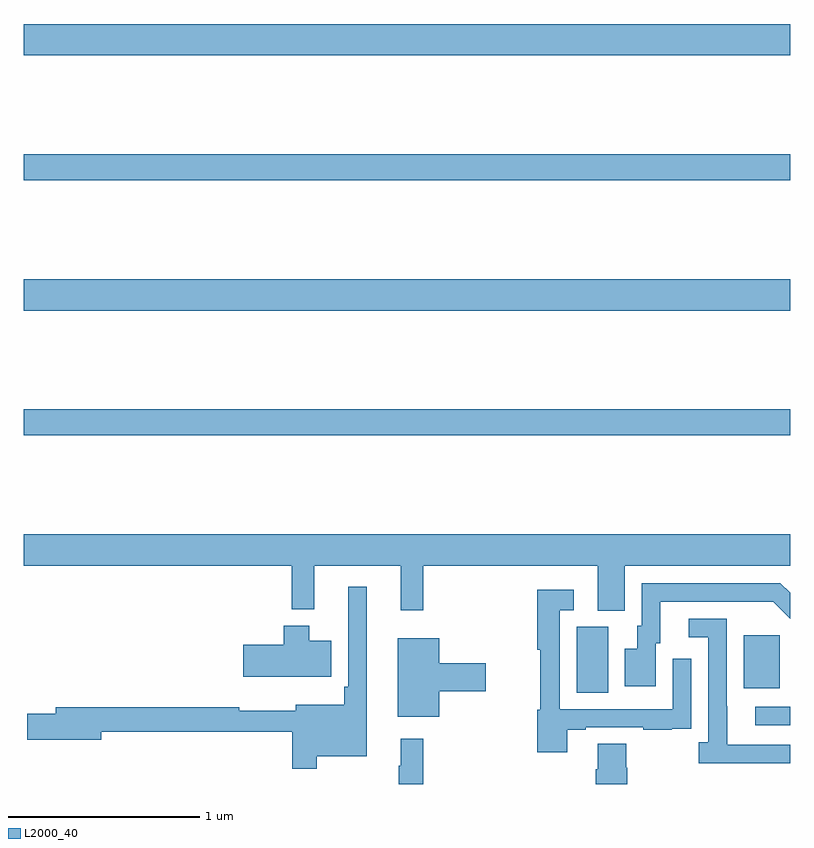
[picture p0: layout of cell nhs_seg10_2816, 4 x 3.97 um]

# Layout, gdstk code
import gdstk
lib = gdstk.Library(unit=1e-6, precision=1e-09)
def R(c, l, rs):  # rectangles x0, y0, x1, y1
    for r in rs: c.add(gdstk.rectangle(r[:2], r[2:], *l))
def P(c, l, *ps):  # polygons
    for p in ps: c.add(gdstk.Polygon(p, *l))
L2000_40 = (2000, 40)

nhs_seg10_2816 = lib.new_cell('nhs_seg10_2816')
R(nhs_seg10_2816, L2000_40, [(266.817,1308.807,267,1308.903), (265.886,1308.976,266.05,1309.32), (266.759,1309.001,266.947,1309.276), (263,1310.32,267,1310.456), (263,1310.972,267,1311.136), (263,1311.652,267,1311.788), (263,1312.304,267,1312.468)])
P(nhs_seg10_2816, L2000_40, [(266.137,1309.64),(267,1309.64),(267,1309.804),(263,1309.804),(263,1309.64),(264.397,1309.64),(264.397,1309.412),(264.515,1309.412),(264.515,1309.64),(264.968,1309.64),(264.968,1309.407),(265.085,1309.407),(265.085,1309.64),(265.997,1309.64),(265.997,1309.405),(266.137,1309.405)],
  [(266.299,1309.236),(266.323,1309.236),(266.323,1309.452),(266.911,1309.452),(267,1309.362),(267,1309.498),(266.95,1309.548),(266.226,1309.548),(266.226,1309.326),(266.201,1309.326),(266.201,1309.207),(266.138,1309.207),(266.138,1309.011),(266.299,1309.011)],
  [(264.529,1308.644),(264.79,1308.644),(264.79,1309.531),(264.693,1309.531),(264.693,1309.009),(264.673,1309.009),(264.673,1308.913),(264.419,1308.913),(264.419,1308.883),(264.123,1308.883),(264.123,1308.902),(263.165,1308.902),(263.165,1308.866),(263.016,1308.866),(263.016,1308.731),(263.404,1308.731),(263.404,1308.774),(264.4,1308.774),(264.4,1308.579),(264.529,1308.579)],
  [(265.837,1308.783),(265.933,1308.783),(265.933,1308.795),(266.233,1308.795),(266.233,1308.783),(266.381,1308.783),(266.381,1308.789),(266.483,1308.789),(266.483,1308.898),(266.484,1308.898),(266.484,1309.153),(266.388,1309.153),(266.388,1308.891),(265.797,1308.891),(265.797,1309.407),(265.87,1309.407),(265.87,1309.513),(265.681,1309.513),(265.681,1309.2),(265.696,1309.2),(265.696,1308.888),(265.681,1308.888),(265.681,1308.666),(265.837,1308.666)],
  [(267,1308.705),(266.671,1308.705),(266.671,1308.905),(266.67,1308.905),(266.67,1309.362),(266.472,1309.362),(266.472,1309.266),(266.574,1309.266),(266.574,1308.718),(266.523,1308.718),(266.523,1308.608),(267,1308.608)],
  [(264.604,1309.249),(264.49,1309.249),(264.49,1309.327),(264.356,1309.327),(264.356,1309.227),(264.144,1309.227),(264.144,1309.061),(264.604,1309.061)],
  [(265.168,1308.983),(265.411,1308.983),(265.411,1309.13),(265.168,1309.13),(265.168,1309.261),(264.953,1309.261),(264.953,1308.851),(265.168,1308.851)],
  [(265.085,1308.736),(264.968,1308.736),(264.968,1308.596),(264.957,1308.596),(264.957,1308.5),(265.085,1308.5)],
  [(266.15,1308.585),(266.145,1308.585),(266.145,1308.71),(265.997,1308.71),(265.997,1308.578),(265.985,1308.578),(265.985,1308.5),(266.15,1308.5)])

lib.write_gds('nhs_seg10_2816.gds')
